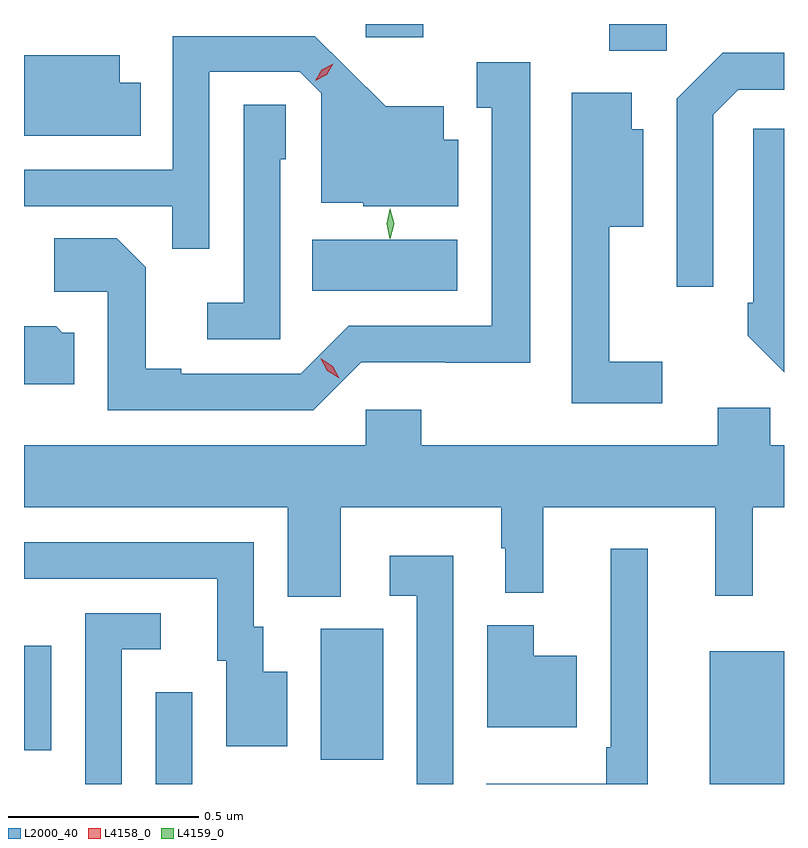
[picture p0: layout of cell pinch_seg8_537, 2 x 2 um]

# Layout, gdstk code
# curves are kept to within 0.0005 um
import gdstk
lib = gdstk.Library(unit=1e-6, precision=1e-09)
def R(c, l, rs):  # rectangles x0, y0, x1, y1
    for r in rs: c.add(gdstk.rectangle(r[:2], r[2:], *l))
def P(c, l, *ps):  # polygons
    for p in ps: c.add(gdstk.Polygon(p, *l))
L2000_40 = (2000, 40)
L4158_0 = (4158, 0)
L4159_0 = (4159, 0)

pinch_seg8_537 = lib.new_cell('pinch_seg8_537')
R(pinch_seg8_537, L2000_40, [(121.638,1119.768,121.734,1120.009), (123.095,1119.768,123.291,1120.117), (122.072,1119.832,122.236,1120.176), (121.291,1119.857,121.363,1120.132), (122.05,1121.066,122.431,1121.2), (122.831,1121.697,122.982,1121.768), (122.19,1121.733,122.342,1121.768)])
P(pinch_seg8_537, L2000_40, [(121.779,1121.643),(122.016,1121.643),(122.073,1121.586),(122.073,1121.297),(122.184,1121.297),(122.184,1121.288),(122.434,1121.288),(122.434,1121.464),(122.395,1121.464),(122.395,1121.551),(122.243,1121.551),(122.056,1121.736),(121.683,1121.736),(121.683,1121.385),(121.291,1121.385),(121.291,1121.289),(121.681,1121.289),(121.681,1121.176),(121.779,1121.176)],
  [(123.105,1121.529),(123.171,1121.595),(123.291,1121.595),(123.291,1121.692),(123.13,1121.692),(123.009,1121.571),(123.009,1121.076),(123.105,1121.076)],
  [(121.598,1121.614),(121.543,1121.614),(121.543,1121.686),(121.291,1121.686),(121.291,1121.474),(121.598,1121.474)],
  [(122.178,1120.878),(122.4,1120.878),(122.4,1120.877),(122.623,1120.877),(122.623,1121.668),(122.483,1121.668),(122.483,1121.547),(122.522,1121.547),(122.522,1120.974),(122.145,1120.974),(122.019,1120.848),(121.705,1120.848),(121.705,1120.861),(121.611,1120.861),(121.611,1121.128),(121.535,1121.204),(121.371,1121.204),(121.371,1121.064),(121.512,1121.064),(121.512,1120.752),(122.052,1120.752)],
  [(122.971,1120.879),(122.831,1120.879),(122.831,1121.234),(122.92,1121.234),(122.92,1121.491),(122.89,1121.491),(122.89,1121.587),(122.732,1121.587),(122.732,1121.338),(122.733,1121.338),(122.733,1120.77),(122.971,1120.77)],
  [(121.965,1121.412),(121.98,1121.412),(121.98,1121.555),(121.869,1121.555),(121.869,1121.035),(121.773,1121.035),(121.773,1120.938),(121.965,1120.938)],
  [(123.291,1121.493),(123.21,1121.493),(123.21,1121.035),(123.195,1121.035),(123.195,1120.947),(123.291,1120.851)],
  [(121.423,1120.956),(121.392,1120.956),(121.376,1120.972),(121.291,1120.972),(121.291,1120.82),(121.423,1120.82)],
  [(122.125,1120.496),(122.547,1120.496),(122.547,1120.389),(122.558,1120.389),(122.558,1120.271),(122.657,1120.271),(122.657,1120.496),(123.11,1120.496),(123.11,1120.263),(123.209,1120.263),(123.209,1120.496),(123.291,1120.496),(123.291,1120.66),(123.255,1120.66),(123.255,1120.758),(123.116,1120.758),(123.116,1120.66),(122.337,1120.66),(122.337,1120.753),(122.19,1120.753),(122.19,1120.66),(121.291,1120.66),(121.291,1120.496),(121.985,1120.496),(121.985,1120.261),(122.125,1120.261)],
  [(121.984,1120.063),(121.921,1120.063),(121.921,1120.182),(121.896,1120.182),(121.896,1120.404),(121.291,1120.404),(121.291,1120.308),(121.799,1120.308),(121.799,1120.092),(121.823,1120.092),(121.823,1119.867),(121.984,1119.867)],
  [(122.932,1120.387),(122.835,1120.387),(122.835,1119.865),(122.823,1119.865),(122.823,1119.769),(122.508,1119.769),(122.508,1119.768),(122.932,1119.768)],
  [(122.421,1120.369),(122.253,1120.369),(122.253,1120.263),(122.325,1120.263),(122.325,1119.768),(122.421,1119.768)],
  [(121.548,1120.122),(121.651,1120.122),(121.651,1120.218),(121.452,1120.218),(121.452,1119.768),(121.548,1119.768)],
  [(122.746,1120.105),(122.632,1120.105),(122.632,1120.186),(122.51,1120.186),(122.51,1119.917),(122.746,1119.917)])
P(pinch_seg8_537, L4158_0, [(122.121,1120.836),(122.089,1120.855),(122.072,1120.887),(122.072,1120.888),(122.072,1120.888),(122.104,1120.868),(122.121,1120.836),(122.121,1120.836)],
  [(122.057,1121.619),(122.057,1121.619),(122.074,1121.648),(122.105,1121.664),(122.105,1121.664),(122.105,1121.663),(122.088,1121.634),(122.057,1121.619)])
P(pinch_seg8_537, L4159_0, [(122.254,1121.203),(122.245,1121.242),(122.254,1121.281),(122.255,1121.282),(122.255,1121.281),(122.265,1121.242),(122.255,1121.203),(122.255,1121.203)])

lib.write_gds('pinch_seg8_537.gds')
